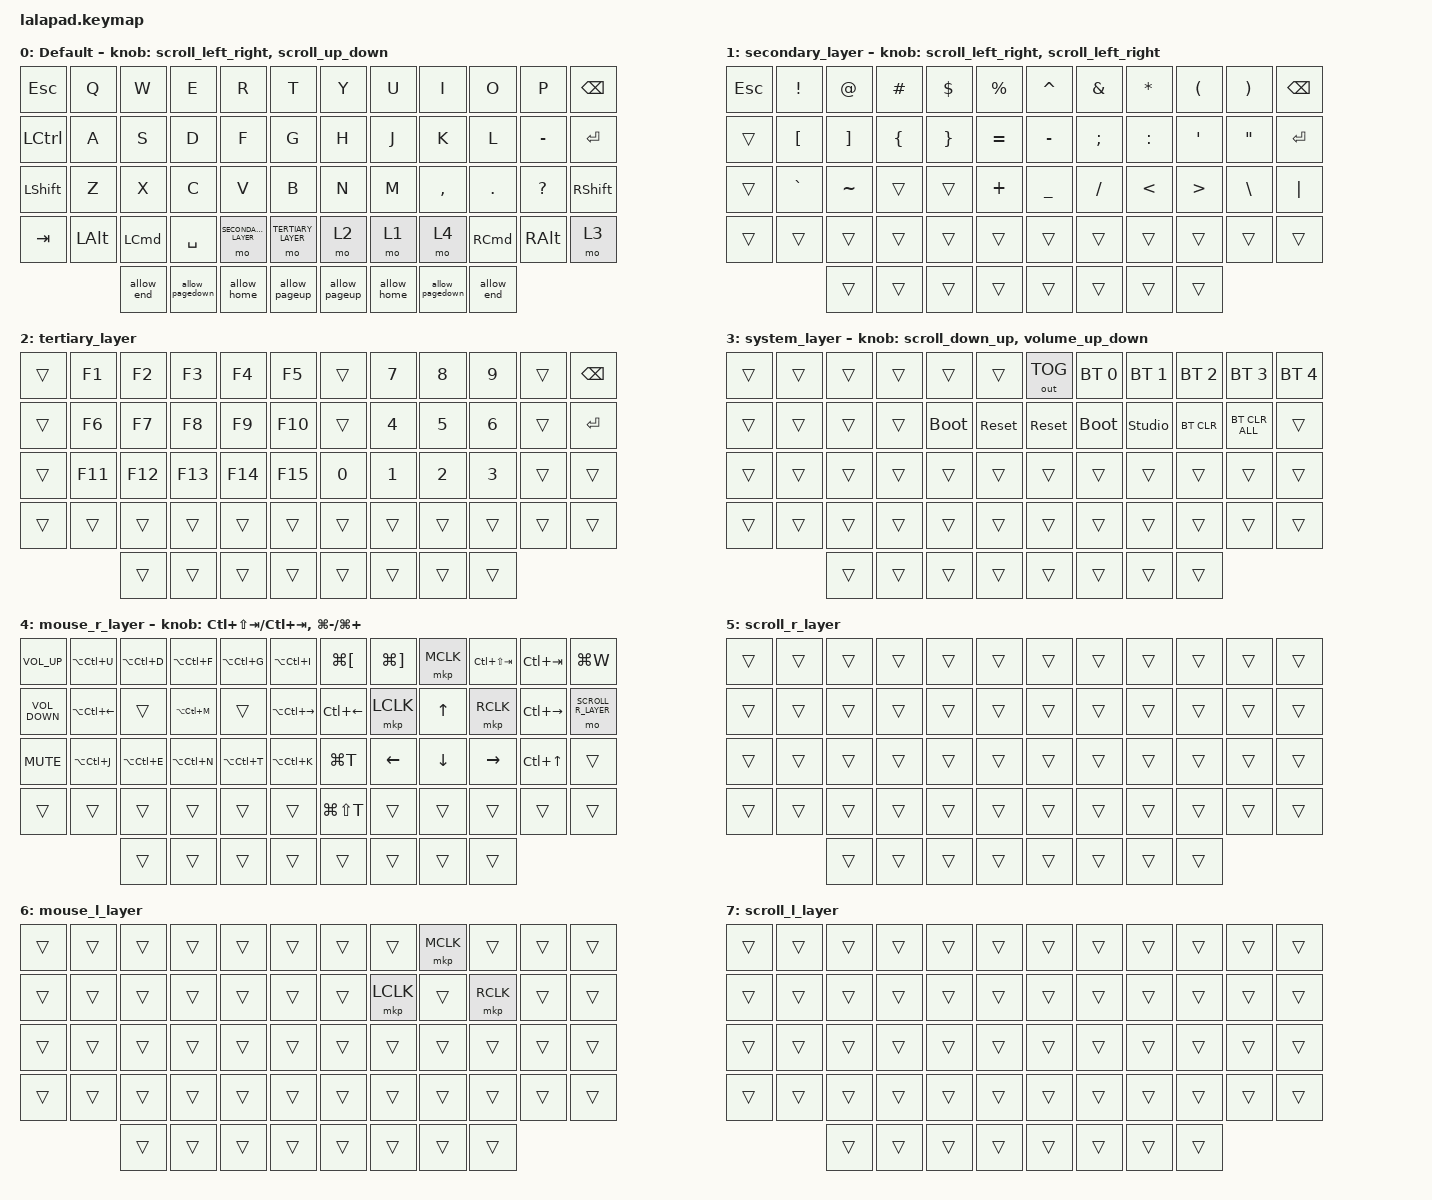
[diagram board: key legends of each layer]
#include <input/processors.dtsi>
#include <behaviors.dtsi>
#include <dt-bindings/zmk/bt.h>
#include <dt-bindings/zmk/keys.h>
#include <dt-bindings/zmk/outputs.h>
#include <dt-bindings/zmk/pointing.h>

#define DEFAULT_LAYER   0
#define SECONDARY_LAYER 1
#define TERTIARY_LAYER  2
#define SYSTEM_LAYER    3
#define MOUSE_R_LAYER   4
#define SCROLL_R_LAYER  5
#define MOUSE_L_LAYER   6
#define SCROLL_L_LAYER  7

// Mouse Scroll Value

#define ZMK_POINTING_DEFAULT_SCRL_VAL 100

// cirque trackpad input&layer control

&glidepoint_listener_R {
    input-processors =
        <&zip_xy_transform (INPUT_TRANSFORM_XY_SWAP | INPUT_TRANSFORM_X_INVERT | INPUT_TRANSFORM_Y_INVERT)>,
        <&zip_xy_scaler 3 2>,
        <&zip_temp_layer MOUSE_R_LAYER 500>;

    lowspeedmode {
        layers = <SECONDARY_LAYER>;
        input-processors =
            <&zip_xy_transform (INPUT_TRANSFORM_XY_SWAP | INPUT_TRANSFORM_X_INVERT | INPUT_TRANSFORM_Y_INVERT)>,
            <&zip_xy_scaler 3 5>,
            <&zip_temp_layer MOUSE_R_LAYER 500>;
    };

    scroller {
        layers = <SCROLL_R_LAYER>;
        input-processors =
            <&zip_xy_to_scroll_mapper>,
            <&zip_scroll_transform (INPUT_TRANSFORM_XY_SWAP | INPUT_TRANSFORM_Y_INVERT)>,
            <&zip_scroll_scaler 1 8>;
    };
};

&glidepoint_listener_L {
    input-processors =
        <&zip_xy_transform (INPUT_TRANSFORM_XY_SWAP | INPUT_TRANSFORM_X_INVERT | INPUT_TRANSFORM_Y_INVERT)>,
        <&zip_xy_scaler 3 2>,
        <&zip_temp_layer MOUSE_L_LAYER 500>;

    lowspeedmode {
        layers = <SECONDARY_LAYER>;
        input-processors =
            <&zip_xy_transform (INPUT_TRANSFORM_XY_SWAP | INPUT_TRANSFORM_X_INVERT | INPUT_TRANSFORM_Y_INVERT)>,
            <&zip_xy_scaler 3 4>,
            <&zip_temp_layer MOUSE_L_LAYER 500>;
    };

    scroller {
        layers = <SCROLL_L_LAYER>;
        input-processors =
            <&zip_xy_to_scroll_mapper>,
            <&zip_scroll_transform (INPUT_TRANSFORM_XY_SWAP | INPUT_TRANSFORM_Y_INVERT)>,
            <&zip_scroll_scaler 1 6>;
    };
};

/ {
    behaviors {
        // Encoder to Mouse Scroll

        scroll_up_down: behavior_sensor_rotate_mouse_wheel_up_down {
            compatible = "zmk,behavior-sensor-rotate";
            #sensor-binding-cells = <0>;
            bindings = <&msc SCRL_UP>, <&msc SCRL_DOWN>;

            tap-ms = <20>;
        };

        scroll_down_up: behavior_sensor_rotate_mouse_wheel_down_up {
            compatible = "zmk,behavior-sensor-rotate";
            #sensor-binding-cells = <0>;
            bindings = <&msc SCRL_DOWN>, <&msc SCRL_UP>;

            tap-ms = <20>;
        };

        scroll_left_right: behavior_sensor_rotate_mouse_wheel_left_right {
            compatible = "zmk,behavior-sensor-rotate";
            #sensor-binding-cells = <0>;
            bindings = <&msc SCRL_LEFT>, <&msc SCRL_RIGHT>;

            tap-ms = <20>;
        };

        scroll_right_left: behavior_sensor_rotate_mouse_wheel_right_left {
            compatible = "zmk,behavior-sensor-rotate";
            #sensor-binding-cells = <0>;
            bindings = <&msc SCRL_RIGHT>, <&msc SCRL_LEFT>;

            tap-ms = <20>;
        };

        volume_up_down: behavior_sensor_rotate_volume_up_down {
            compatible = "zmk,behavior-sensor-rotate";
            #sensor-binding-cells = <0>;
            bindings = <&kp C_VOLUME_UP>, <&kp C_VOLUME_DOWN>;

            tap-ms = <20>;
        };

        dot_comma: dot_comma {
            compatible = "zmk,behavior-mod-morph";
            #binding-cells = <0>;
            bindings = <&kp KP_DOT>, <&kp COMMA>;

            mods = <(MOD_LSFT|MOD_RSFT)>;
            label = "DOT_COMMA";
        };

        pls_minus: pls_minus {
            compatible = "zmk,behavior-mod-morph";
            #binding-cells = <0>;
            bindings = <&kp PLUS>, <&kp MINUS>;

            mods = <(MOD_LSFT|MOD_RSFT)>;
            label = "PLS_MINUS";
        };

        allow_pageup: allow_pageup {
            compatible = "zmk,behavior-mod-morph";
            #binding-cells = <0>;
            bindings = <&kp UP>, <&kp PAGE_UP>;

            mods = <(MOD_LCTL|MOD_RCTL)>;
            label = "ALLOW_PAGEUP";
        };

        allow_pagedown: allow_pagedown {
            compatible = "zmk,behavior-mod-morph";
            #binding-cells = <0>;
            bindings = <&kp DOWN>, <&kp PAGE_DOWN>;

            mods = <(MOD_LCTL|MOD_RCTL)>;
            label = "ALLOW_PAGEDOWN";
        };

        allow_home: allow_home {
            compatible = "zmk,behavior-mod-morph";
            #binding-cells = <0>;
            bindings = <&kp LEFT>, <&kp HOME>;

            mods = <(MOD_LCTL|MOD_RCTL)>;
            label = "ALLOW_HOME";
        };

        allow_end: allow_end {
            compatible = "zmk,behavior-mod-morph";
            #binding-cells = <0>;
            bindings = <&kp RIGHT>, <&kp END>;

            mods = <(MOD_LCTL|MOD_RCTL)>;
            label = "ALLOW_END";
        };

        mt2: mod_tap2 {
            compatible = "zmk,behavior-hold-tap";
            #binding-cells = <2>;
            flavor = "tap-preferred";
            tapping-term-ms = <200>;
            quick-tap-ms = <200>;
            require-prior-idle-ms = <125>;
            bindings = <&kp>, <&kp>;
        };
    };

    keymap {
        compatible = "zmk,keymap";

        DEFAULT_LAYER {
            display-name = "Default";
            sensor-bindings = <&scroll_left_right>, <&scroll_up_down>;

            bindings = <
&kp ESC    &kp Q         &kp W             &kp E            &kp R                &kp T               &kp Y          &kp U        &kp I            &kp O              &kp P          &kp BACKSPACE
&kp LCTRL  &kp A         &kp S             &kp D            &kp F                &kp G               &kp H          &kp J        &kp K            &kp L              &kp MINUS      &kp RET
&kp LSHFT  &kp Z         &kp X             &kp C            &kp V                &kp B               &kp N          &kp M        &kp COMMA        &kp PERIOD         &kp QUESTION   &kp RIGHT_SHIFT
&kp TAB    &kp LEFT_ALT  &kp LEFT_COMMAND  &kp SPACE        &mo SECONDARY_LAYER  &mo TERTIARY_LAYER  &mo 2          &mo 1        &mo 4            &kp RIGHT_COMMAND  &kp RIGHT_ALT  &mo 3
                         &allow_end        &allow_pagedown  &allow_home          &allow_pageup       &allow_pageup  &allow_home  &allow_pagedown  &allow_end
            >;
        };

        SECONDARY_LAYER {
            display-name = "secondary_layer";
            sensor-bindings = <&scroll_left_right>, <&scroll_left_right>;

            bindings = <
&kp ESCAPE  &kp EXCLAMATION   &kp AT_SIGN        &kp HASH        &kp DOLLAR       &kp PERCENT  &kp CARET       &kp AMPERSAND  &kp ASTERISK   &kp LEFT_PARENTHESIS  &kp RIGHT_PARENTHESIS  &kp BACKSPACE
&trans      &kp LEFT_BRACKET  &kp RIGHT_BRACKET  &kp LEFT_BRACE  &kp RIGHT_BRACE  &kp EQUAL    &kp MINUS       &kp SEMICOLON  &kp COLON      &kp SINGLE_QUOTE      &kp DOUBLE_QUOTES      &kp RETURN
&trans      &kp GRAVE         &kp TILDE          &trans          &trans           &kp PLUS     &kp UNDERSCORE  &kp SLASH      &kp LESS_THAN  &kp GREATER_THAN      &kp BACKSLASH          &kp PIPE
&trans      &trans            &trans             &trans          &trans           &trans       &trans          &trans         &trans         &trans                &trans                 &trans
                              &trans             &trans          &trans           &trans       &trans          &trans         &trans         &trans
            >;
        };

        TERTIARY_LAYER {
            display-name = "tertiary_layer";
            bindings = <
&trans  &kp F1   &kp F2   &kp F3   &kp F4   &kp F5   &trans        &kp NUMBER_7  &kp NUMBER_8  &kp NUMBER_9  &trans  &kp BACKSPACE
&trans  &kp F6   &kp F7   &kp F8   &kp F9   &kp F10  &trans        &kp NUMBER_4  &kp NUMBER_5  &kp NUMBER_6  &trans  &kp RET
&trans  &kp F11  &kp F12  &kp F13  &kp F14  &kp F15  &kp NUMBER_0  &kp NUMBER_1  &kp NUMBER_2  &kp NUMBER_3  &trans  &trans
&trans  &trans   &trans   &trans   &trans   &trans   &trans        &trans        &trans        &trans        &trans  &trans
                 &trans   &trans   &trans   &trans   &trans        &trans        &trans        &trans
            >;
        };

        SYSTEM_LAYER {
            display-name = "system_layer";
            sensor-bindings = <&scroll_down_up>, <&volume_up_down>;

            bindings = <
&trans  &trans  &trans  &trans  &trans       &trans      &out OUT_TOG  &bt BT_SEL 0  &bt BT_SEL 1    &bt BT_SEL 2  &bt BT_SEL 3    &bt BT_SEL 4
&trans  &trans  &trans  &trans  &bootloader  &sys_reset  &sys_reset    &bootloader   &studio_unlock  &bt BT_CLR    &bt BT_CLR_ALL  &trans
&trans  &trans  &trans  &trans  &trans       &trans      &trans        &trans        &trans          &trans        &trans          &trans
&trans  &trans  &trans  &trans  &trans       &trans      &trans        &trans        &trans          &trans        &trans          &trans
                &trans  &trans  &trans       &trans      &trans        &trans        &trans          &trans
            >;
        };

        MOUSE_R_LAYER {
            display-name = "mouse_r_layer";
            bindings = <
&kp C_VOLUME_UP    &kp LA(LC(U))     &kp LA(LC(D))  &kp LA(LC(F))  &kp LA(LC(G))  &kp LA(LC(I))      &kp LG(LEFT_BRACKET)  &kp LG(RIGHT_BRACKET)  &mkp MCLK  &kp LC(LS(TAB))  &kp LC(TAB)    &kp LG(W)
&kp C_VOLUME_DOWN  &kp LA(LC(LEFT))  &trans         &kp LA(LC(M))  &trans         &kp LA(LC(RIGHT))  &kp LC(LEFT)          &mkp LCLK              &kp UP     &mkp RCLK        &kp LC(RIGHT)  &mo SCROLL_R_LAYER
&kp K_MUTE         &kp LA(LC(J))     &kp LA(LC(E))  &kp LA(LC(N))  &kp LA(LC(T))  &kp LA(LC(K))      &kp LG(T)             &kp LEFT               &kp DOWN   &kp RIGHT        &kp LC(UP)     &trans
&trans             &trans            &trans         &trans         &trans         &trans             &kp LG(LS(T))         &trans                 &trans     &trans           &trans         &trans
                                     &trans         &trans         &trans         &trans             &trans                &trans                 &trans     &trans
            >;

            sensor-bindings =
                <&inc_dec_kp LC(LS(TAB)) LC(TAB)>,
                <&inc_dec_kp LG(MINUS) LG(PLUS)>;
        };

        SCROLL_R_LAYER {
            display-name = "scroll_r_layer";
            bindings = <
&trans  &trans  &trans  &trans  &trans  &trans  &trans  &trans  &trans  &trans  &trans  &trans
&trans  &trans  &trans  &trans  &trans  &trans  &trans  &trans  &trans  &trans  &trans  &trans
&trans  &trans  &trans  &trans  &trans  &trans  &trans  &trans  &trans  &trans  &trans  &trans
&trans  &trans  &trans  &trans  &trans  &trans  &trans  &trans  &trans  &trans  &trans  &trans
                &trans  &trans  &trans  &trans  &trans  &trans  &trans  &trans
            >;
        };

        MOUSE_L_LAYER {
            display-name = "mouse_l_layer";
            bindings = <
&trans  &trans  &trans  &trans  &trans  &trans  &trans  &trans     &mkp MCLK  &trans     &trans  &trans
&trans  &trans  &trans  &trans  &trans  &trans  &trans  &mkp LCLK  &trans     &mkp RCLK  &trans  &trans
&trans  &trans  &trans  &trans  &trans  &trans  &trans  &trans     &trans     &trans     &trans  &trans
&trans  &trans  &trans  &trans  &trans  &trans  &trans  &trans     &trans     &trans     &trans  &trans
                &trans  &trans  &trans  &trans  &trans  &trans     &trans     &trans
            >;
        };

        SCROLL_L_LAYER {
            display-name = "scroll_l_layer";
            bindings = <
&trans  &trans  &trans  &trans  &trans  &trans  &trans  &trans  &trans  &trans  &trans  &trans
&trans  &trans  &trans  &trans  &trans  &trans  &trans  &trans  &trans  &trans  &trans  &trans
&trans  &trans  &trans  &trans  &trans  &trans  &trans  &trans  &trans  &trans  &trans  &trans
&trans  &trans  &trans  &trans  &trans  &trans  &trans  &trans  &trans  &trans  &trans  &trans
                &trans  &trans  &trans  &trans  &trans  &trans  &trans  &trans
            >;
        };
    };
};
